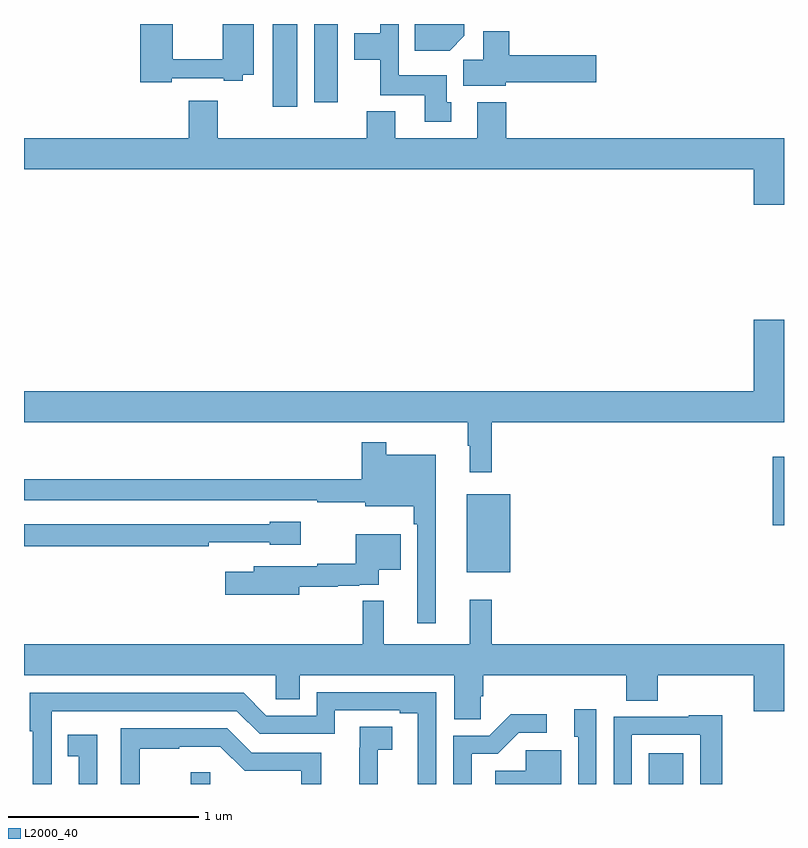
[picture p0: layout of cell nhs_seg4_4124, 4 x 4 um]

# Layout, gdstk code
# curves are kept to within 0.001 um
import gdstk
lib = gdstk.Library(unit=1e-6, precision=1e-09)
def R(c, l, rs):  # rectangles x0, y0, x1, y1
    for r in rs: c.add(gdstk.rectangle(r[:2], r[2:], *l))
def P(c, l, *ps):  # polygons
    for p in ps: c.add(gdstk.Polygon(p, *l))
L2000_40 = (2000, 40)

nhs_seg4_4124 = lib.new_cell('nhs_seg4_4124')
R(nhs_seg4_4124, L2000_40, [(329.878,810.9,329.979,810.961), (332.288,810.9,332.47,811.063), (331.331,812.015,331.558,812.425), (332.942,812.262,333,812.623), (330.308,814.464,330.439,814.9), (330.527,814.488,330.652,814.9)])
P(nhs_seg4_4124, L2000_40, [(331.318,814.838),(331.318,814.9),(331.057,814.9),(331.057,814.76),(331.24,814.76)],
  [(329.778,814.614),(330.05,814.614),(330.05,814.602),(330.15,814.602),(330.15,814.634),(330.208,814.634),(330.208,814.9),(330.046,814.9),(330.046,814.715),(329.782,814.715),(329.782,814.9),(329.612,814.9),(329.612,814.594),(329.778,814.594)],
  [(331.249,814.488),(331.225,814.488),(331.225,814.63),(330.972,814.63),(330.972,814.9),(330.876,814.9),(330.876,814.852),(330.737,814.852),(330.737,814.712),(330.874,814.712),(330.874,814.526),(331.109,814.526),(331.109,814.386),(331.249,814.386)],
  [(331.536,814.594),(332.011,814.594),(332.011,814.736),(331.553,814.736),(331.553,814.861),(331.418,814.861),(331.418,814.712),(331.313,814.712),(331.313,814.574),(331.536,814.574)],
  [(333,814.3),(331.538,814.3),(331.538,814.489),(331.385,814.489),(331.385,814.3),(330.955,814.3),(330.955,814.441),(330.803,814.441),(330.803,814.3),(330.019,814.3),(330.019,814.495),(329.867,814.495),(329.867,814.3),(329,814.3),(329,814.136),(332.84,814.136),(332.84,813.948),(333,813.948)],
  [(331.463,812.804),(333,812.804),(333,813.343),(332.84,813.343),(332.84,812.968),(329,812.968),(329,812.804),(331.335,812.804),(331.335,812.681),(331.346,812.681),(331.346,812.541),(331.463,812.541)],
  [(331.168,812.632),(330.907,812.632),(330.907,812.698),(330.778,812.698),(330.778,812.503),(329,812.503),(329,812.394),(330.544,812.394),(330.544,812.382),(330.797,812.382),(330.797,812.363),(331.051,812.363),(331.051,812.267),(331.071,812.267),(331.071,811.746),(331.168,811.746)],
  [(329.972,812.172),(330.294,812.172),(330.294,812.159),(330.457,812.159),(330.457,812.281),(330.294,812.281),(330.294,812.268),(329,812.268),(329,812.152),(329.972,812.152)],
  [(330.448,811.938),(330.65,811.938),(330.65,811.944),(330.764,811.944),(330.764,811.95),(330.868,811.95),(330.868,812.027),(330.982,812.027),(330.982,812.215),(330.746,812.215),(330.746,812.059),(330.544,812.059),(330.544,812.046),(330.209,812.046),(330.209,812.017),(330.06,812.017),(330.06,811.895),(330.448,811.895)],
  [(331.404,811.363),(331.418,811.363),(331.418,811.472),(332.171,811.472),(332.171,811.339),(332.336,811.339),(332.336,811.472),(332.84,811.472),(332.84,811.284),(333,811.284),(333,811.636),(331.463,811.636),(331.463,811.87),(331.346,811.87),(331.346,811.636),(330.893,811.636),(330.893,811.865),(330.784,811.865),(330.784,811.636),(329,811.636),(329,811.472),(330.324,811.472),(330.324,811.345),(330.451,811.345),(330.451,811.472),(331.265,811.472),(331.265,811.24),(331.404,811.24)],
  [(329.146,810.956),(329.145,811.284),(330.12,811.284),(330.24,811.164),(330.636,811.164),(330.636,811.287),(330.977,811.287),(330.977,811.272),(331.073,811.272),(331.073,810.9),(331.17,810.9),(331.17,811.383),(330.54,811.383),(330.54,811.26),(330.276,811.26),(330.156,811.38),(329.029,811.38),(329.029,811.177),(329.047,811.177),(329.047,810.9),(329.146,810.9)],
  [(332.013,811.294),(331.895,811.294),(331.895,811.149),(331.917,811.149),(331.917,810.9),(332.013,810.9)],
  [(331.356,811.059),(331.494,811.059),(331.605,811.17),(331.75,811.17),(331.75,811.268),(331.562,811.268),(331.449,811.155),(331.26,811.155),(331.26,810.9),(331.356,810.9)],
  [(332.199,811.158),(332.559,811.158),(332.559,810.9),(332.675,810.9),(332.675,811.261),(332.499,811.261),(332.499,811.254),(332.103,811.254),(332.103,810.9),(332.199,810.9)],
  [(330.863,811.081),(330.937,811.081),(330.937,811.202),(330.766,811.202),(330.766,811.091),(330.764,811.091),(330.764,810.9),(330.863,810.9)],
  [(329.609,811.086),(329.816,811.086),(329.816,811.097),(330.034,811.097),(330.162,810.969),(330.458,810.969),(330.458,810.9),(330.565,810.9),(330.565,811.065),(330.198,811.065),(330.069,811.194),(329.508,811.194),(329.508,810.9),(329.609,810.9)],
  [(329.385,811.159),(329.23,811.159),(329.23,811.046),(329.288,811.046),(329.288,810.9),(329.385,810.9)],
  [(331.828,811.077),(331.641,811.077),(331.641,810.97),(331.479,810.97),(331.479,810.9),(331.828,810.9)])

lib.write_gds('nhs_seg4_4124.gds')
